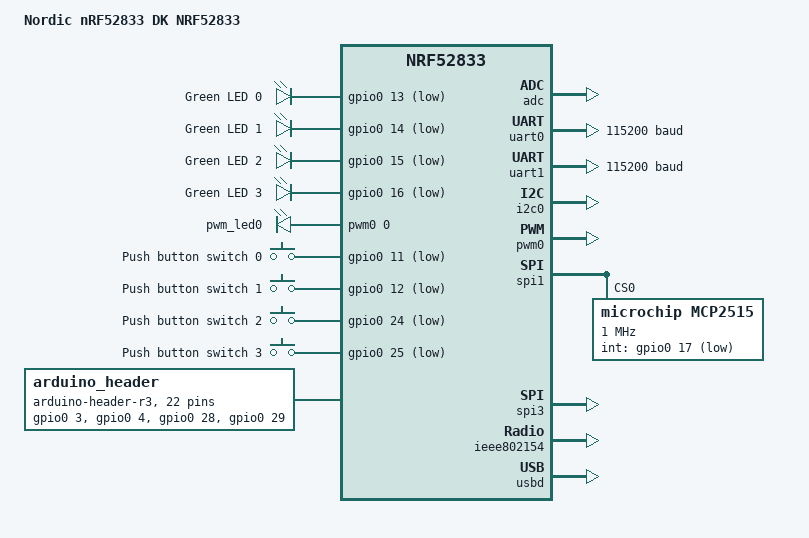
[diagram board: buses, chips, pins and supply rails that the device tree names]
/*
 * Copyright (c) 2019 Nordic Semiconductor ASA
 *
 * SPDX-License-Identifier: Apache-2.0
 */

/dts-v1/;
#include <nordic/nrf52833_qiaa.dtsi>
#include "can_test2-pinctrl.dtsi"

/ {
	model = "Nordic nRF52833 DK NRF52833";
	compatible = "nordic,nrf52833-dk-nrf52833";

	chosen {
		zephyr,console = &uart0;
		zephyr,shell-uart = &uart0;
		zephyr,uart-mcumgr = &uart0;
		zephyr,bt-mon-uart = &uart0;
		zephyr,bt-c2h-uart = &uart0;
		zephyr,sram = &sram0;
		zephyr,flash = &flash0;
		zephyr,code-partition = &slot0_partition;
		zephyr,ieee802154 = &ieee802154;
		zephyr,canbus = &mcp2515;
	};

	leds {
		compatible = "gpio-leds";
		led0: led_0 {
			gpios = <&gpio0 13 GPIO_ACTIVE_LOW>;
			label = "Green LED 0";
		};
		led1: led_1 {
			gpios = <&gpio0 14 GPIO_ACTIVE_LOW>;
			label = "Green LED 1";
		};
		led2: led_2 {
			gpios = <&gpio0 15 GPIO_ACTIVE_LOW>;
			label = "Green LED 2";
		};
		led3: led_3 {
			gpios = <&gpio0 16 GPIO_ACTIVE_LOW>;
			label = "Green LED 3";
		};
	};

	pwmleds {
		compatible = "pwm-leds";
		pwm_led0: pwm_led_0 {
			pwms = <&pwm0 0 PWM_MSEC(20) PWM_POLARITY_INVERTED>;
		};
	};

	buttons {
		compatible = "gpio-keys";
		button0: button_0 {
			gpios = <&gpio0 11 (GPIO_PULL_UP | GPIO_ACTIVE_LOW)>;
			label = "Push button switch 0";
		};
		button1: button_1 {
			gpios = <&gpio0 12 (GPIO_PULL_UP | GPIO_ACTIVE_LOW)>;
			label = "Push button switch 1";
		};
		button2: button_2 {
			gpios = <&gpio0 24 (GPIO_PULL_UP | GPIO_ACTIVE_LOW)>;
			label = "Push button switch 2";
		};
		button3: button_3 {
			gpios = <&gpio0 25 (GPIO_PULL_UP | GPIO_ACTIVE_LOW)>;
			label = "Push button switch 3";
		};
	};

	arduino_header: connector {
		compatible = "arduino-header-r3";
		#gpio-cells = <2>;
		gpio-map-mask = <0xffffffff 0xffffffc0>;
		gpio-map-pass-thru = <0 0x3f>;
		gpio-map = <0 0 &gpio0 3 0>,
             <1 0 &gpio0 4 0>,
             <2 0 &gpio0 28 0>,
             <3 0 &gpio0 29 0>,
             <4 0 &gpio0 30 0>,
             <5 0 &gpio0 31 0>,
             <6 0 &gpio1 1 0>,
             <7 0 &gpio1 2 0>,
             <8 0 &gpio1 3 0>,
             <9 0 &gpio1 4 0>,
             <10 0 &gpio1 5 0>,
             <11 0 &gpio1 6 0>,
             <12 0 &gpio1 7 0>,
             <13 0 &gpio1 8 0>,
             <14 0 &gpio0 17 0>,
             <15 0 &gpio0 19 0>,
             <16 0 &gpio0 20 0>,
             <17 0 &gpio0 21 0>,
             <18 0 &gpio0 22 0>,
             <19 0 &gpio0 23 0>,
             <20 0 &gpio0 26 0>,
             <21 0 &gpio0 27 0>;	/* D15 */
	};

	/* These aliases are provided for compatibility with samples */
	aliases {
		led0 = &led0;
		led1 = &led1;
		led2 = &led2;
		led3 = &led3;
		pwm-led0 = &pwm_led0;
		sw0 = &button0;
		sw1 = &button1;
		sw2 = &button2;
		sw3 = &button3;
		bootloader-led0 = &led0;
		mcuboot-button0 = &button0;
		mcuboot-led0 = &led0;
		watchdog0 = &wdt0;
	};
};

&adc {
	status = "okay";
};

&gpiote {
	status = "okay";
};

&gpio0 {
	status = "okay";
};

&gpio1 {
	status = "okay";
};

&uart0 {
	compatible = "nordic,nrf-uarte";
	status = "okay";
	current-speed = <115200>;
	pinctrl-0 = <&uart0_default>;
	pinctrl-1 = <&uart0_sleep>;
	pinctrl-names = "default", "sleep";
};

arduino_serial: &uart1 {
	status = "okay";
	current-speed = <115200>;
	pinctrl-0 = <&uart1_default>;
	pinctrl-1 = <&uart1_sleep>;
	pinctrl-names = "default", "sleep";
};

arduino_i2c: &i2c0 {
	compatible = "nordic,nrf-twi";
	status = "okay";
	pinctrl-0 = <&i2c0_default>;
	pinctrl-1 = <&i2c0_sleep>;
	pinctrl-names = "default", "sleep";
};

&i2c1 {
	compatible = "nordic,nrf-twi";
	/* Cannot be used together with spi1. */
	/* status = "okay"; */
	pinctrl-0 = <&i2c1_default>;
	pinctrl-1 = <&i2c1_sleep>;
	pinctrl-names = "default", "sleep";
};

&pwm0 {
	status = "okay";
	pinctrl-0 = <&pwm0_default>;
	pinctrl-1 = <&pwm0_sleep>;
	pinctrl-names = "default", "sleep";
};

&spi0 {
	compatible = "nordic,nrf-spi";
	/* Cannot be used together with i2c0. */
	/* status = "okay"; */
	pinctrl-0 = <&spi0_default>;
	pinctrl-1 = <&spi0_sleep>;
	pinctrl-names = "default", "sleep";
};

&spi1 {
	compatible = "nordic,nrf-spim";
	status = "okay";
	pinctrl-0 = <&spi1_default>;
	pinctrl-1 = <&spi1_sleep>;
	pinctrl-names = "default", "sleep";
	
	mcp2515: can@0 {
		compatible = "microchip,mcp2515";
		spi-max-frequency = <1000000>;
		//int-gpios = <&arduino_header 8 GPIO_ACTIVE_LOW>; /* D2 */
    //int-gpios = <&gpio0 10 GPIO_ACTIVE_LOW>;
    int-gpios = <&gpio0 17 GPIO_ACTIVE_LOW>;
		status = "okay";
		label = "MCP2515";
		reg = <0x0>;
		osc-freq = <16000000>;
		bus-speed = <125000>;
		sjw = <1>;
		sample-point = <875>;
	};
};

arduino_spi: &spi3 {
	status = "okay";
	cs-gpios = <&arduino_header 16 GPIO_ACTIVE_LOW>; /* D10 */
	pinctrl-0 = <&spi3_default>;
	pinctrl-1 = <&spi3_sleep>;
	pinctrl-names = "default", "sleep";
};

&ieee802154 {
	status = "okay";
};

&flash0 {

	partitions {
		compatible = "fixed-partitions";
		#address-cells = <1>;
		#size-cells = <1>;

		boot_partition: partition@0 {
			label = "mcuboot";
			reg = <0x00000000 0xC000>;
		};
		slot0_partition: partition@c000 {
			label = "image-0";
			reg = <0x0000C000 0x32000>;
		};
		slot1_partition: partition@3e000 {
			label = "image-1";
			reg = <0x0003E000 0x32000>;
		};
		scratch_partition: partition@70000 {
			label = "image-scratch";
			reg = <0x00070000 0xA000>;
		};
		storage_partition: partition@7a000 {
			label = "storage";
			reg = <0x0007A000 0x00006000>;
		};
	};
};

zephyr_udc0: &usbd {
	compatible = "nordic,nrf-usbd";
	status = "okay";
};
